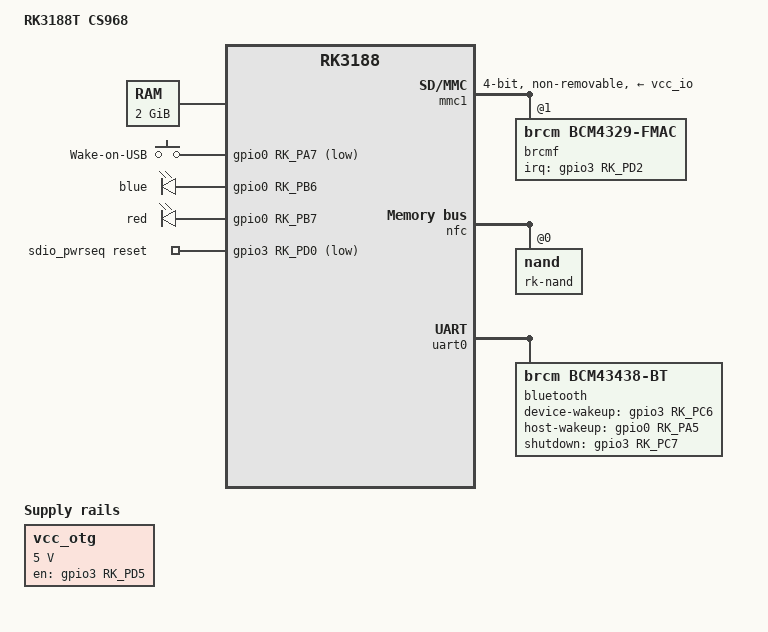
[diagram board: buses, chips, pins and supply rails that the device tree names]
// SPDX-License-Identifier: (GPL-2.0+ OR MIT)
/*
 * Copyright (c) 2020 Alex Bee <knaerzche@gmail.com>
 */

/dts-v1/;
#include <dt-bindings/input/input.h>
#include "rk3188-rbox.dtsi"

/ {
	model = "RK3188T CS968";

	memory@60000000 {
                device_type = "memory";
                reg = <0x60000000 0x80000000>;
        };

	gpio-keys {
		pinctrl-names = "default";
		pinctrl-0 = <&usb_int>;
		compatible = "gpio-keys";
		autorepeat;


		wake_on_usb: wake-on-usb {
			label = "Wake-on-USB";
			gpios = <&gpio0 RK_PA7 GPIO_ACTIVE_LOW>;
			linux,code = <KEY_WAKEUP>;
			wakeup-source;
		};
	};

	gpio-leds {
		compatible = "gpio-leds";

		blue {
			label = "blue";
			gpios = <&gpio0 RK_PB6 GPIO_ACTIVE_HIGH>;
			default-state = "on";
		};

		sleep {
			label = "red";
			gpios = <&gpio0 RK_PB7 GPIO_ACTIVE_HIGH>;
			default-state = "off";
		};
	};


	sdio_pwrseq: sdio-pwrseq {
		compatible = "mmc-pwrseq-simple";
		clocks = <&pcf8563>;
		clock-names = "ext_clock";
		pinctrl-names = "default";
		pinctrl-0 = <&wifi_reg_on>;
		reset-gpios = <&gpio3 RK_PD0 GPIO_ACTIVE_LOW>;
	};

	vcc_otg: usb-otg-regulator {
		compatible = "regulator-fixed";
		enable-active-high;
		gpio = <&gpio3 RK_PD5 GPIO_ACTIVE_HIGH>;
		pinctrl-names = "default";
		pinctrl-0 = <&otg_vbus_drv>;
		regulator-name = "otg-vbus";
		regulator-min-microvolt = <5000000>;
		regulator-max-microvolt = <5000000>;
	};

};

&mmc1 {
	bus-width = <4>;
	clock-frequency = <25000000>;
	mmc-pwrseq = <&sdio_pwrseq>;
	non-removable;
	pinctrl-names = "default";
	pinctrl-0 = <&sd1_clk>, <&sd1_cmd>,
		    <&sd1_bus4>;
	vmmc-supply = <&vcc_io>;
	vqmmc-supply = <&vccio_wl>;
	cap-sd-highspeed;
	status = "okay";
	#address-cells = <1>;
	#size-cells = <0>;

	brcmf: wifi@1 {
		reg = <0x1>;
		compatible = "brcm,bcm4329-fmac";
		interrupt-parent = <&gpio3>;
		interrupts = <RK_PD2 GPIO_ACTIVE_HIGH>;
		interrupt-names = "host-wake";
		pinctrl-names = "default";
		pinctrl-0 = <&wifi_host_wake>;
	};
};

&nfc {
	#address-cells = <1>;
	#size-cells = <0>;

	nand@0 {
		reg = <0>;
		label = "rk-nand";
		nand-bus-width = <8>;
		nand-ecc-mode = "hw";
		nand-ecc-step-size = <1024>;
		nand-ecc-strength = <40>;
		nand-is-boot-medium;
		rockchip,boot-blks = <8>;
		rockchip,boot-ecc-strength = <40>;
	};
};

&pinctrl {
	ap6210 {
		bt_host_wake: bt-host-wake {
			rockchip,pins = <0 RK_PA5 RK_FUNC_GPIO &pcfg_pull_up>;
		};

		bt_reg_on: bt-reg-on {
			rockchip,pins = <3 RK_PC7 RK_FUNC_GPIO &pcfg_pull_none>;
		};

		/* pin hog to pull the reset high */
		bt_rst: bt-rst {
			rockchip,pins = <3 RK_PD1 RK_FUNC_GPIO &pcfg_output_high>;
		};

		bt_wake: bt-wake {
			rockchip,pins = <3 RK_PC6 RK_FUNC_GPIO &pcfg_pull_none>;
		};

		wifi_host_wake: wifi-host-wake {
			rockchip,pins = <3 RK_PD2 RK_FUNC_GPIO &pcfg_pull_up>;
		};

		wifi_reg_on: wifi-reg-on {
			rockchip,pins = <3 RK_PD0 RK_FUNC_GPIO &pcfg_pull_none>;
		};
	};

	usb {
		usb_int: usb-int {
			rockchip,pins = <0 RK_PA7 RK_FUNC_GPIO &pcfg_pull_up>;
		};
		otg_vbus_drv: otg-vbus-drv {
			rockchip,pins = <3 RK_PD5 RK_FUNC_GPIO &pcfg_pull_none>;
		};
	};
};

&uart0 {
	pinctrl-0 = <&uart0_xfer &uart0_cts &uart0_rts>;
	uart-has-rtscts;
	status = "okay";

	bluetooth {
		compatible = "brcm,bcm43438-bt";
		device-wakeup-gpios = <&gpio3 RK_PC6 GPIO_ACTIVE_HIGH>;
		host-wakeup-gpios = <&gpio0 RK_PA5 GPIO_ACTIVE_HIGH>;
		shutdown-gpios = <&gpio3 RK_PC7 GPIO_ACTIVE_HIGH>;
		pinctrl-names = "default";
		pinctrl-0 = <&bt_host_wake &bt_reg_on &bt_rst &bt_wake>;
	};
};

&usbphy0 {
        vbus-supply = <&vcc_otg>;
};
